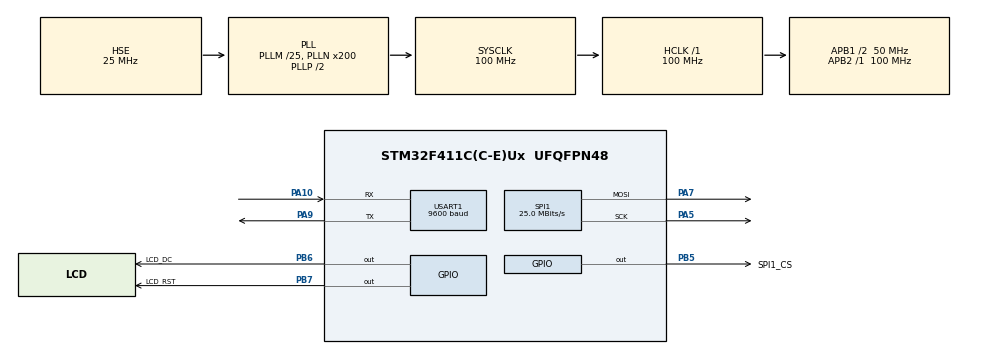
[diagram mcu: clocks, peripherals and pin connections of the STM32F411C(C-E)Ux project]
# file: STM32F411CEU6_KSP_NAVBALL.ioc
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Dma.Request0=SPI1_TX
Dma.Request1=USART1_RX
Dma.SPI1_TX.0.Direction=DMA_MEMORY_TO_PERIPH
Dma.SPI1_TX.0.FIFOMode=DMA_FIFOMODE_DISABLE
Dma.SPI1_TX.0.Instance=DMA2_Stream3
Dma.SPI1_TX.0.MemDataAlignment=DMA_MDATAALIGN_BYTE
Dma.SPI1_TX.0.MemInc=DMA_MINC_ENABLE
Dma.SPI1_TX.0.Mode=DMA_NORMAL
Dma.SPI1_TX.0.PeriphDataAlignment=DMA_PDATAALIGN_BYTE
Dma.SPI1_TX.0.PeriphInc=DMA_PINC_DISABLE
Dma.SPI1_TX.0.Priority=DMA_PRIORITY_LOW
Dma.USART1_RX.1.Direction=DMA_PERIPH_TO_MEMORY
Dma.USART1_RX.1.FIFOMode=DMA_FIFOMODE_DISABLE
Dma.USART1_RX.1.Instance=DMA2_Stream2
Dma.USART1_RX.1.MemDataAlignment=DMA_MDATAALIGN_BYTE
Dma.USART1_RX.1.MemInc=DMA_MINC_ENABLE
Dma.USART1_RX.1.Mode=DMA_NORMAL
Dma.USART1_RX.1.PeriphDataAlignment=DMA_PDATAALIGN_BYTE
Dma.USART1_RX.1.PeriphInc=DMA_PINC_DISABLE
Dma.USART1_RX.1.Priority=DMA_PRIORITY_LOW
Mcu.Family=STM32F4
Mcu.Name=STM32F411C(C-E)Ux
Mcu.Package=UFQFPN48
NVIC.DMA2_Stream2_IRQn=true\:0\:0\:false\:false\:true\:false\:true\:true
NVIC.DMA2_Stream3_IRQn=true\:0\:0\:false\:false\:true\:false\:true\:true
NVIC.PriorityGroup=NVIC_PRIORITYGROUP_4
NVIC.SPI1_IRQn=true\:0\:0\:false\:false\:true\:true\:true\:true
NVIC.USART1_IRQn=true\:0\:0\:false\:false\:true\:true\:true\:true
PA10.Mode=Asynchronous
PA10.Signal=USART1_RX
PA5.Mode=TX_Only_Simplex_Unidirect_Master
PA5.Signal=SPI1_SCK
PA7.Mode=TX_Only_Simplex_Unidirect_Master
PA7.Signal=SPI1_MOSI
PA9.Mode=Asynchronous
PA9.Signal=USART1_TX
PB5.GPIO_Label=SPI1_CS
PB5.Signal=GPIO_Output
PB6.GPIO_Label=LCD_DC
PB6.Signal=GPIO_Output
PB7.GPIO_Label=LCD_RST
PB7.Signal=GPIO_Output
PH0\ -\ OSC_IN.Mode=HSE-External-Oscillator
PH0\ -\ OSC_IN.Signal=RCC_OSC_IN
PH1\ -\ OSC_OUT.Mode=HSE-External-Oscillator
PH1\ -\ OSC_OUT.Signal=RCC_OSC_OUT
ProjectManager.HeapSize=0x200
ProjectManager.StackSize=0x400
ProjectManager.TargetToolchain=STM32CubeIDE
RCC.48MHZClocksFreq_Value=50000000
RCC.AHBFreq_Value=100000000
RCC.APB1CLKDivider=RCC_HCLK_DIV2
RCC.APB1Freq_Value=50000000
RCC.APB1TimFreq_Value=100000000
RCC.APB2Freq_Value=100000000
RCC.APB2TimFreq_Value=100000000
RCC.CortexFreq_Value=100000000
RCC.HCLKFreq_Value=100000000
RCC.HSE_VALUE=25000000
RCC.HSI_VALUE=16000000
RCC.LSE_VALUE=32768
RCC.PLLM=25
RCC.PLLN=200
RCC.PLLSourceVirtual=RCC_PLLSOURCE_HSE
RCC.SYSCLKFreq_VALUE=100000000
RCC.SYSCLKSource=RCC_SYSCLKSOURCE_PLLCLK
RCC.VCOOutputFreq_Value=200000000
SPI1.BaudRatePrescaler=SPI_BAUDRATEPRESCALER_4
SPI1.CalculateBaudRate=25.0 MBits/s
SPI1.Direction=SPI_DIRECTION_2LINES
SPI1.FirstBit=SPI_FIRSTBIT_MSB
SPI1.Mode=SPI_MODE_MASTER
SPI1.VirtualType=VM_MASTER
USART1.BaudRate=9600
USART1.VirtualMode=VM_ASYNC
board=custom

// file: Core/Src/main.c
/* USER CODE BEGIN Header */
/**
  ******************************************************************************
  * @file           : main.c
  * @brief          : Main program body
  ******************************************************************************
  * @attention
  *
  * Copyright (c) 2026 STMicroelectronics.
  * All rights reserved.
  *
  * This software is licensed under terms that can be found in the LICENSE file
  * in the root directory of this software component.
  * If no LICENSE file comes with this software, it is provided AS-IS.
  *
  ******************************************************************************
  */
/* USER CODE END Header */
#include "main.h"

/* USER CODE BEGIN Includes */
#include "st7735s.h"
#include "trig_lookup_tables.h"
#include "math.h"
#include "stdlib.h"
#include "string.h"
/* USER CODE END Includes */

/* USER CODE BEGIN PD */
#define PACKET_SIZE 			7
#define EXPECTED_START_BYTE 	0xAA
/* USER CODE END PD */

SPI_HandleTypeDef hspi1;
DMA_HandleTypeDef hdma_spi1_tx;

UART_HandleTypeDef huart1;
DMA_HandleTypeDef hdma_usart1_rx;

void SystemClock_Config(void);
static void MX_GPIO_Init(void);
static void MX_DMA_Init(void);
static void MX_SPI1_Init(void);
static void MX_USART1_UART_Init(void);

/* USER CODE BEGIN 0 */
st7735s_t lcd_obj;

typedef struct __attribute__((packed)){
    uint8_t start_byte;
    int16_t pitch;
    int16_t roll;
	int16_t yaw;
}uart_packet;

volatile uart_packet latest_packet;
uint8_t rx_uart_dma[PACKET_SIZE];
volatile uint8_t data_ready = 0;
/* USER CODE END 0 */

int main(void)
{

  /* MCU Configuration--------------------------------------------------------*/

  /* Reset of all peripherals, Initializes the Flash interface and the Systick. */
  HAL_Init();

  /* Configure the system clock */
  SystemClock_Config();

  /* Initialize all configured peripherals */
  MX_GPIO_Init();
  MX_DMA_Init();
  MX_SPI1_Init();
  MX_USART1_UART_Init();
  /* USER CODE BEGIN 2 */
  HAL_UART_Receive_DMA(&huart1, rx_uart_dma, PACKET_SIZE);
  lcd_obj = st7735s_create(&hspi1,
     		  	  	  	  (GPIO_st7735s){LCD_DC_GPIO_Port, LCD_DC_Pin},
    					  (GPIO_st7735s){LCD_RST_GPIO_Port, LCD_RST_Pin},
    					  (GPIO_st7735s){SPI1_CS_GPIO_Port, SPI1_CS_Pin});

  st7735s_init(&lcd_obj);
  st7735s_fill_screen(&lcd_obj, 0x0000);
  framebuffer_draw_circle(radius+1, cx, cy, 0x07E0);
  if(!lcd_obj.busy){
	draw_navball(0, 0, 0);
	st7735s_push_framebuffer_dma(&lcd_obj, horizon_get_framebuffer(), FB_WIDTH, FB_HEIGHT);
  }
  /* USER CODE END 2 */

  /* Infinite loop */
  while (1)
  {

    /* USER CODE BEGIN 3 */

	/*
	 *
	 *  	IMPORTANT!!!!!!!!!!!!!!!!!!!!!!!!!!!!!!!!!!!!!!!!!!!
	 *  	IN ORDER TO NOT WASTE CPU CYCLES COMPUTING FRAMEBUFFEER
	 *  	USING THE SAME PITCH ROLL YAW RECEIVED LAST TIME
	 * 		USE A FLAG (DATA_READY) WHICH IS SET IN THE UART CALLBACK
	 * 		WHEN GETTING NEW DATA.
	 *
	 * 		ESENTIALLY - IT COMPUTES A NEW FRAMEBUFFER ONLY WHEN
	 * 		IT RECEIVES DATA ON USART (LOW POWER CONSUMPTION)
	 *
	 *
	 * */

	//int16_t pitch = 0;//300 * sin(HAL_GetTick() / 10);
	//int16_t roll = 4 * fsin(HAL_GetTick() / 12.0);
	//int16_t yaw = fmod(HAL_GetTick() / 20, 360);

	if (data_ready)
	{
		data_ready = 0;

		// Atomic copy (prevents tearing if ISR fires during copy)
		__disable_irq();
		uart_packet local_copy = latest_packet;
		__enable_irq();

		int16_t pitch = local_copy.pitch;
		int16_t roll  = local_copy.roll;
		int16_t yaw   = local_copy.yaw;

		if(!lcd_obj.busy){
			draw_navball(pitch, roll, yaw);
			st7735s_push_framebuffer_dma(&lcd_obj, horizon_get_framebuffer(), FB_WIDTH, FB_HEIGHT);
		}

		// Example debug (remove or keep only for testing)
		//char buffertx[100];
		//sprintf(buffertx, "P: %d, R: %d, Y: %d\n", pitch, roll, yaw);
		//CDC_Transmit_FS((uint8_t *)buffertx, strlen(buffertx));
	}

	HAL_Delay(5);
  }
  /* USER CODE END 3 */
}

void SystemClock_Config(void)
{
  RCC_OscInitTypeDef RCC_OscInitStruct = {0};
  RCC_ClkInitTypeDef RCC_ClkInitStruct = {0};

  /** Configure the main internal regulator output voltage
  */
  __HAL_RCC_PWR_CLK_ENABLE();
  __HAL_PWR_VOLTAGESCALING_CONFIG(PWR_REGULATOR_VOLTAGE_SCALE1);

  /** Initializes the RCC Oscillators according to the specified parameters
  * in the RCC_OscInitTypeDef structure.
  */
  RCC_OscInitStruct.OscillatorType = RCC_OSCILLATORTYPE_HSE;
  RCC_OscInitStruct.HSEState = RCC_HSE_ON;
  RCC_OscInitStruct.PLL.PLLState = RCC_PLL_ON;
  RCC_OscInitStruct.PLL.PLLSource = RCC_PLLSOURCE_HSE;
  RCC_OscInitStruct.PLL.PLLM = 25;
  RCC_OscInitStruct.PLL.PLLN = 200;
  RCC_OscInitStruct.PLL.PLLP = RCC_PLLP_DIV2;
  RCC_OscInitStruct.PLL.PLLQ = 4;
  if (HAL_RCC_OscConfig(&RCC_OscInitStruct) != HAL_OK)
  {
    Error_Handler();
  }

  /** Initializes the CPU, AHB and APB buses clocks
  */
  RCC_ClkInitStruct.ClockType = RCC_CLOCKTYPE_HCLK|RCC_CLOCKTYPE_SYSCLK
                              |RCC_CLOCKTYPE_PCLK1|RCC_CLOCKTYPE_PCLK2;
  RCC_ClkInitStruct.SYSCLKSource = RCC_SYSCLKSOURCE_PLLCLK;
  RCC_ClkInitStruct.AHBCLKDivider = RCC_SYSCLK_DIV1;
  RCC_ClkInitStruct.APB1CLKDivider = RCC_HCLK_DIV2;
  RCC_ClkInitStruct.APB2CLKDivider = RCC_HCLK_DIV1;

  if (HAL_RCC_ClockConfig(&RCC_ClkInitStruct, FLASH_LATENCY_3) != HAL_OK)
  {
    Error_Handler();
  }
}

static void MX_SPI1_Init(void)
{

  /* SPI1 parameter configuration*/
  hspi1.Instance = SPI1;
  hspi1.Init.Mode = SPI_MODE_MASTER;
  hspi1.Init.Direction = SPI_DIRECTION_2LINES;
  hspi1.Init.DataSize = SPI_DATASIZE_8BIT;
  hspi1.Init.CLKPolarity = SPI_POLARITY_LOW;
  hspi1.Init.CLKPhase = SPI_PHASE_1EDGE;
  hspi1.Init.NSS = SPI_NSS_SOFT;
  hspi1.Init.BaudRatePrescaler = SPI_BAUDRATEPRESCALER_4;
  hspi1.Init.FirstBit = SPI_FIRSTBIT_MSB;
  hspi1.Init.TIMode = SPI_TIMODE_DISABLE;
  hspi1.Init.CRCCalculation = SPI_CRCCALCULATION_DISABLE;
  hspi1.Init.CRCPolynomial = 10;
  if (HAL_SPI_Init(&hspi1) != HAL_OK)
  {
    Error_Handler();
  }

}

static void MX_USART1_UART_Init(void)
{

  huart1.Instance = USART1;
  huart1.Init.BaudRate = 9600;
  huart1.Init.WordLength = UART_WORDLENGTH_8B;
  huart1.Init.StopBits = UART_STOPBITS_1;
  huart1.Init.Parity = UART_PARITY_NONE;
  huart1.Init.Mode = UART_MODE_TX_RX;
  huart1.Init.HwFlowCtl = UART_HWCONTROL_NONE;
  huart1.Init.OverSampling = UART_OVERSAMPLING_16;
  if (HAL_UART_Init(&huart1) != HAL_OK)
  {
    Error_Handler();
  }

}

static void MX_DMA_Init(void)
{

  /* DMA controller clock enable */
  __HAL_RCC_DMA2_CLK_ENABLE();

  /* DMA interrupt init */
  /* DMA2_Stream2_IRQn interrupt configuration */
  HAL_NVIC_SetPriority(DMA2_Stream2_IRQn, 0, 0);
  HAL_NVIC_EnableIRQ(DMA2_Stream2_IRQn);
  /* DMA2_Stream3_IRQn interrupt configuration */
  HAL_NVIC_SetPriority(DMA2_Stream3_IRQn, 0, 0);
  HAL_NVIC_EnableIRQ(DMA2_Stream3_IRQn);

}

static void MX_GPIO_Init(void)
{
  GPIO_InitTypeDef GPIO_InitStruct = {0};

  /* GPIO Ports Clock Enable */
  __HAL_RCC_GPIOH_CLK_ENABLE();
  __HAL_RCC_GPIOA_CLK_ENABLE();
  __HAL_RCC_GPIOB_CLK_ENABLE();

  /*Configure GPIO pin Output Level */
  HAL_GPIO_WritePin(GPIOB, SPI1_CS_Pin|LCD_DC_Pin|LCD_RST_Pin, GPIO_PIN_RESET);

  /*Configure GPIO pins : SPI1_CS_Pin LCD_DC_Pin LCD_RST_Pin */
  GPIO_InitStruct.Pin = SPI1_CS_Pin|LCD_DC_Pin|LCD_RST_Pin;
  GPIO_InitStruct.Mode = GPIO_MODE_OUTPUT_PP;
  GPIO_InitStruct.Pull = GPIO_NOPULL;
  GPIO_InitStruct.Speed = GPIO_SPEED_FREQ_LOW;
  HAL_GPIO_Init(GPIOB, &GPIO_InitStruct);

}

/* USER CODE BEGIN 4 */
void HAL_SPI_TxCpltCallback(SPI_HandleTypeDef *hspi)
{
    if (hspi == lcd_obj.st7735s_spi) {
    	st7735s_dma_tx_complete(&lcd_obj);
    }
}

void HAL_UART_RxCpltCallback(UART_HandleTypeDef *huart)
{
    if (huart->Instance == USART1)
    {
        // Validate packet and store latest data
        if (rx_uart_dma[0] == EXPECTED_START_BYTE)
        {
            latest_packet = *(uart_packet*)rx_uart_dma;   // packed struct copy
            data_ready = 1;
        }
        // Always restart DMA (even on bad packet) so we never miss data
        HAL_UART_Receive_DMA(&huart1, rx_uart_dma, PACKET_SIZE);
    }
}
/* USER CODE END 4 */

void Error_Handler(void)
{
  __disable_irq();
  while (1)
  {
  }
}
